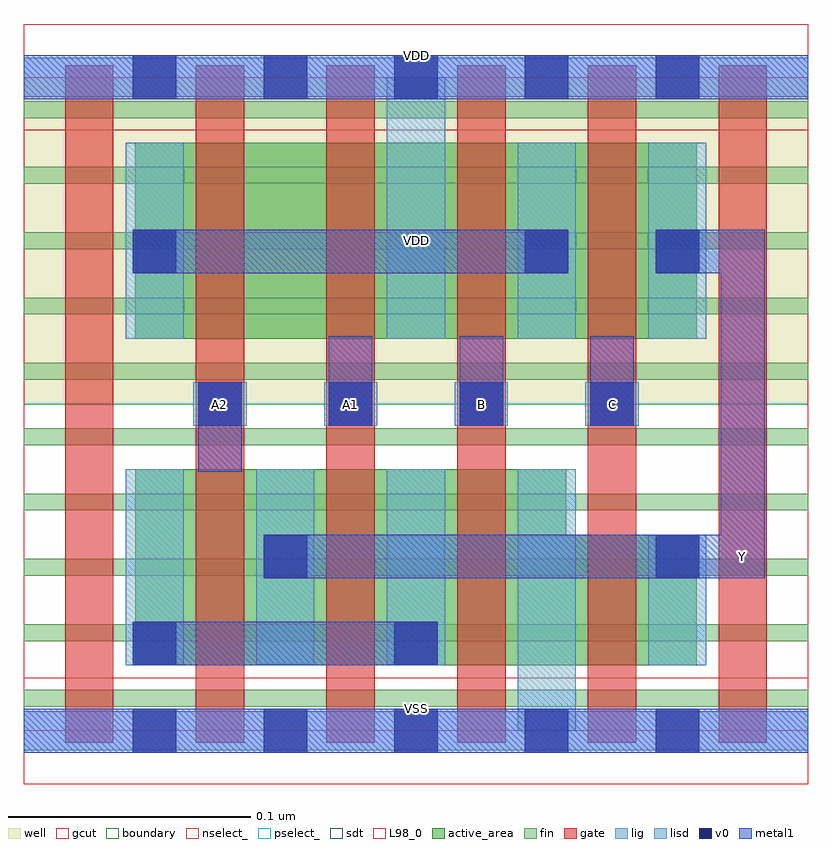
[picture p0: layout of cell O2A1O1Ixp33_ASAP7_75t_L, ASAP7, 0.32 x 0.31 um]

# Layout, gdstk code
import gdstk
lib = gdstk.Library(unit=1e-6, precision=2.5e-10)
def R(c, l, rs):  # rectangles x0, y0, x1, y1
    for r in rs: c.add(gdstk.rectangle(r[:2], r[2:], *l))
def A(c, l, x, y, w, h, nx, ny, dx, dy):  # array of equal rectangles
    R(c, l, [(x+i*dx, y+j*dy, x+i*dx+w, y+j*dy+h) for i in range(nx) for j in range(ny)])
def P(c, l, *ps):  # polygons
    for p in ps: c.add(gdstk.Polygon(p, *l))
well = (1, 0)
fin = (2, 0)
gate = (7, 0)
gcut = (10, 0)
active_area = (11, 0)
nselect_ = (12, 0)
pselect_ = (13, 0)
lig = (16, 0)
lisd = (17, 0)
v0 = (18, 0)
metal1 = (19, 0)
sdt = (88, 0)
L98_0 = (98, 0)
boundary = (100, 0)

o2a1o1ixp33_asap7_75t_l = lib.new_cell('O2A1O1Ixp33_ASAP7_75t_L')
R(o2a1o1ixp33_asap7_75t_l, well, [(0,0.135,0.324,0.27)])
A(o2a1o1ixp33_asap7_75t_l, fin, 0, 0.01, 0.324, 0.007, 1, 10, 0, 0.027)
A(o2a1o1ixp33_asap7_75t_l, gate, 0.017, -0.005, 0.02, 0.28, 6, 1, 0.054, 0)
R(o2a1o1ixp33_asap7_75t_l, gcut, [(0,-0.022,0.324,0.022), (0,0.248,0.324,0.292)])
R(o2a1o1ixp33_asap7_75t_l, active_area, [(0.046,0.162,0.278,0.243)])
P(o2a1o1ixp33_asap7_75t_l, active_area, [(0.278,0.081),(0.224,0.081),(0.224,0.108),(0.046,0.108),(0.046,0.027),(0.278,0.027)])
R(o2a1o1ixp33_asap7_75t_l, nselect_, [(0,0,0.324,0.135)])
R(o2a1o1ixp33_asap7_75t_l, pselect_, [(0,0.135,0.324,0.27)])
A(o2a1o1ixp33_asap7_75t_l, lig, 0.07, 0.126, 0.022, 0.018, 4, 1, 0.054, 0)
R(o2a1o1ixp33_asap7_75t_l, lig, [(0,-0.008,0.324,0.008), (0,0.262,0.324,0.278)])
A(o2a1o1ixp33_asap7_75t_l, lisd, 0.042, 0.027, 0.024, 0.081, 3, 1, 0.054, 0)
R(o2a1o1ixp33_asap7_75t_l, lisd, [(0.204,0,0.228,0.108), (0.204,0,0.228,0.108), (0.258,0.027,0.282,0.081), (0.042,0.162,0.066,0.243), (0.15,0.162,0.174,0.27), (0.15,0.162,0.174,0.27), (0.204,0.162,0.228,0.243), (0.258,0.162,0.282,0.243)])
A(o2a1o1ixp33_asap7_75t_l, v0, 0.045, -0.009, 0.018, 0.018, 5, 2, 0.054, 0.27)
A(o2a1o1ixp33_asap7_75t_l, v0, 0.072, 0.126, 0.018, 0.018, 4, 1, 0.054, 0)
R(o2a1o1ixp33_asap7_75t_l, v0, [(0.045,0.027,0.063,0.045), (0.153,0.027,0.171,0.045), (0.099,0.063,0.117,0.081), (0.261,0.063,0.279,0.081), (0.045,0.189,0.063,0.207), (0.207,0.189,0.225,0.207), (0.261,0.189,0.279,0.207)])
A(o2a1o1ixp33_asap7_75t_l, metal1, 0.072, 0.126, 0.018, 0.018, 4, 1, 0.054, 0)
A(o2a1o1ixp33_asap7_75t_l, metal1, 0.126, 0.126, 0.018, 0.037, 3, 1, 0.054, 0)
R(o2a1o1ixp33_asap7_75t_l, metal1, [(0,-0.009,0.324,0.009), (0.045,0.027,0.063,0.045), (0.045,0.027,0.171,0.045), (0.153,0.027,0.171,0.045), (0.099,0.063,0.117,0.081), (0.261,0.063,0.279,0.081), (0.072,0.107,0.09,0.144), (0.045,0.189,0.063,0.207), (0.045,0.189,0.225,0.207), (0.207,0.189,0.225,0.207), (0.261,0.189,0.279,0.207), (0,0.261,0.324,0.279)])
P(o2a1o1ixp33_asap7_75t_l, metal1, [(0.261,0.207),(0.261,0.189),(0.288,0.189),(0.288,0.081),(0.099,0.081),(0.099,0.063),(0.306,0.063),(0.306,0.207)])
A(o2a1o1ixp33_asap7_75t_l, sdt, 0.042, 0.027, 0.024, 0.081, 4, 1, 0.054, 0)
A(o2a1o1ixp33_asap7_75t_l, sdt, 0.15, 0.162, 0.024, 0.081, 3, 1, 0.054, 0)
R(o2a1o1ixp33_asap7_75t_l, sdt, [(0.204,0.027,0.228,0.108), (0.258,0.027,0.282,0.081), (0.042,0.162,0.066,0.243), (0.15,0.162,0.174,0.243)])
R(o2a1o1ixp33_asap7_75t_l, L98_0, [(0,0,0.324,0.27)])
R(o2a1o1ixp33_asap7_75t_l, boundary, [(0,0,0.324,0.27)])
o2a1o1ixp33_asap7_75t_l.add(gdstk.Label('VDD', (0.162,0.2025), layer=1, texttype=251))
o2a1o1ixp33_asap7_75t_l.add(gdstk.Label('VSS', (0.162,-0.0675), layer=3, texttype=251))
o2a1o1ixp33_asap7_75t_l.add(gdstk.Label('VSS', (0.162,0.009), layer=19, texttype=251))
o2a1o1ixp33_asap7_75t_l.add(gdstk.Label('VDD', (0.162,0.279), layer=19, texttype=251))
o2a1o1ixp33_asap7_75t_l.add(gdstk.Label('A2', (0.081,0.135), layer=19, texttype=251))
o2a1o1ixp33_asap7_75t_l.add(gdstk.Label('Y', (0.297,0.072), layer=19, texttype=251))
o2a1o1ixp33_asap7_75t_l.add(gdstk.Label('A1', (0.135,0.135), layer=19, texttype=251))
o2a1o1ixp33_asap7_75t_l.add(gdstk.Label('B', (0.189,0.135), layer=19, texttype=251))
o2a1o1ixp33_asap7_75t_l.add(gdstk.Label('C', (0.243,0.135), layer=19, texttype=251))

lib.write_gds('O2A1O1Ixp33_ASAP7_75t_L.gds')
